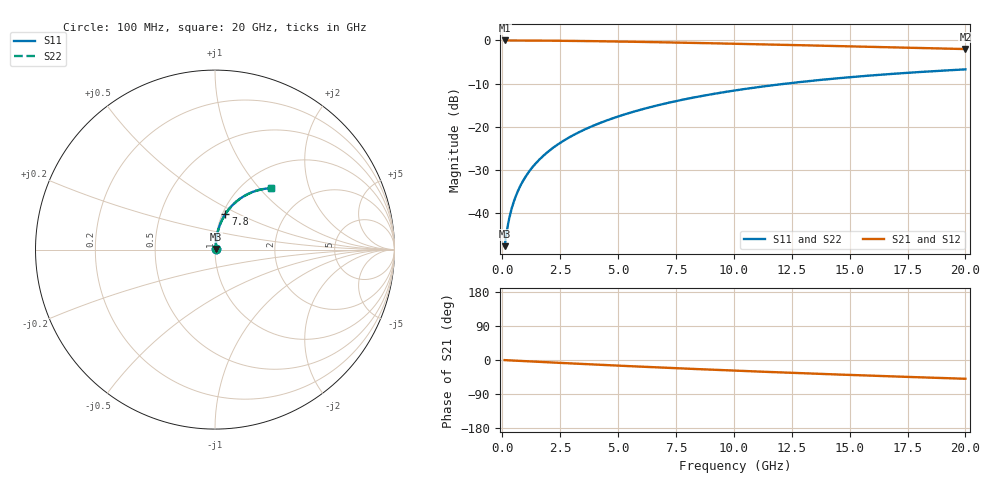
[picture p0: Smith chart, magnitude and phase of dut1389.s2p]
! Touchstone file exported from HFSS 2024.1.0
!  File:  C:/UserFiles/LocalFiles/RDL_TSV_Batchsim/temp_RDL_top_1389_1780367687.aedt
!  Generated:  10:37:04 AM Jun  2, 2026
!  Design:  RDL_top
!  Project:  temp_RDL_top_1389_1780367687
!  Setup:  Setup1
!  Solution:  Sweep
! Variables:
!  dtsv = 10.80580581um
!  hbump = 3um
!  htsv = 86.78um
!  ldown = 100um
!  lrdl = 668.41um
!  p = 40
!  p1 = 59.56um
!  rhole = 1um
!  t = 450um
!  tdown = 3.915915916um
!  trdl = 3.9um
!  wdown = 15.38538539um
!  wrdl = 20.43um
# GHz S MA R 50.000000
! Terminal data exported
! Port[1] = Box2_T1
! Port[2] = Box2_T2
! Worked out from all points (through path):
!   200 points, 100 MHz to 20 GHz, reference 50 ohm
!   highest |S21| = -0.03 dB at 100 MHz (marker M1); lowest = -2.0 dB at 20 GHz (marker M2)
!   group delay of S21, straight-line fit = 6.84 ps
!   lowest |S11| = -47.6 dB at 100 MHz (marker M3), VSWR 1.01, Z = 50.3 + j0.28 ohm
!   |S11| at or under -10 dB: start of sweep to 12.26 GHz
!   |S22| runs from -47.6 to -6.7 dB; largest |S21 - S12| = 6.1e-15
!   S11 on the Smith chart (normalised r, x): 100 MHz: 1.01, +0.01; 7.8 GHz: 1.03, +0.43; 20 GHz: 1.33, +1.15
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0.1  0.004186 41.6  0.9969 -0.3  0.9969 -0.3  0.004186 41.6
! Gamma 0 0 0 0
! Port Impedance 50 0 50 0
0.2  0.006389 59.1  0.9967 -0.6  0.9967 -0.6  0.006389 59.1
0.3  0.008812 66.9  0.9965 -0.9  0.9965 -0.9  0.008812 66.9
0.4  0.01128 71.4  0.9963 -1.3  0.9963 -1.3  0.01128 71.4
0.5  0.01377 74.2  0.9961 -1.6  0.9961 -1.6  0.01377 74.2
0.6  0.01628 76.2  0.9959 -1.9  0.9959 -1.9  0.01628 76.2
0.8  0.02133 78.8  0.9955 -2.5  0.9955 -2.5  0.02133 78.8
1.1  0.02899 80.8  0.9947 -3.4  0.9947 -3.4  0.02899 80.8
1.5  0.0393 82.1  0.9934 -4.6  0.9934 -4.6  0.0393 82.0
1.8  0.04709 82.4  0.9922 -5.5  0.9922 -5.5  0.04709 82.4
2.1  0.0549 82.6  0.9908 -6.4  0.9908 -6.4  0.0549 82.6
2.7  0.07064 82.4  0.9875 -8.2  0.9875 -8.2  0.07063 82.4
3.5  0.09179 81.6  0.982 -10.6  0.982 -10.6  0.09178 81.6
4.2  0.1104 80.6  0.9764 -12.6  0.9764 -12.6  0.1104 80.6
5  0.1318 79.3  0.9692 -14.9  0.9692 -14.9  0.1318 79.3
5.9  0.1559 77.7  0.9603 -17.3  0.9603 -17.3  0.1559 77.6
6.8  0.18 75.9  0.9508 -19.8  0.9508 -19.8  0.1799 75.8
7.8  0.2063 73.7  0.9396 -22.4  0.9396 -22.4  0.2063 73.7
10.1  0.265 68.6  0.9125 -28.2  0.9125 -28.2  0.2648 68.6
13.4  0.3415 61.3  0.872 -35.9  0.872 -35.9  0.3413 61.2
16.7  0.4072 54.3  0.8317 -43.0  0.8317 -43.0  0.4069 54.2
20  0.4617 47.8  0.7931 -49.5  0.7931 -49.5  0.4614 47.8
